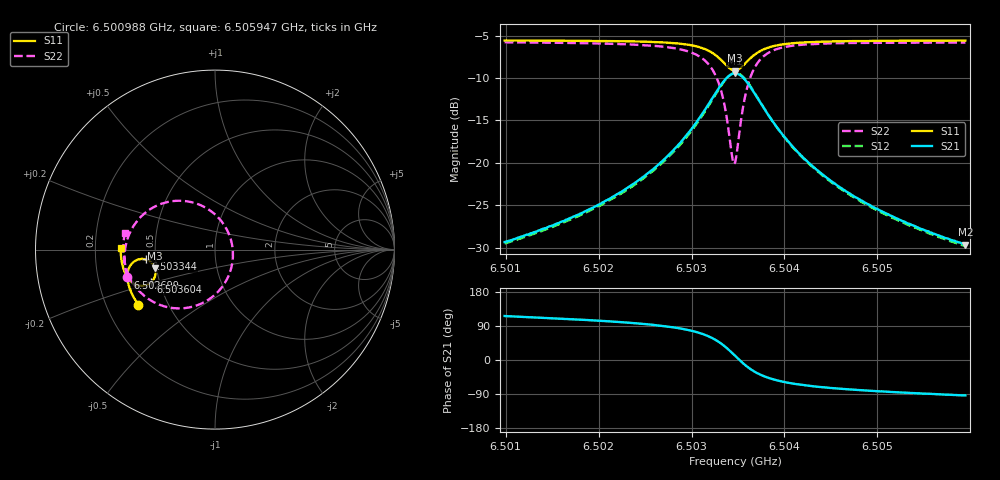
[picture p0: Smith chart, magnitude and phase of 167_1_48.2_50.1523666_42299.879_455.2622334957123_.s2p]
#  HZ  S  RI  R  50.00
! Rohde & Schwarz Vector Network Analyzer
! Rohde-Schwarz,ZNB20-2Port,1311601062101988,3.16
! Created: UTC 3/20/2024, 11:43:33 AM
! freq[Hz]  re:S11  im:S11  re:S21  im:S21  re:S12  im:S12  re:S22  im:S22
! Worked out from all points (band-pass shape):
!   401 points, 6.500988 GHz to 6.505947 GHz, reference 50 ohm
!   highest |S21| = -9.46 dB at 6.503468 GHz (marker M1); lowest = -29.7 dB at 6.505947 GHz (marker M2)
!   |S21| within 3 dB of the highest: 6.503219 GHz to 6.503715 GHz (496.3 kHz wide, 0.00763 % of centre)
!   lowest |S11| = -9.1 dB at 6.503468 GHz (marker M3), VSWR 2.08, Z = 24.5 - j5.87 ohm
!   |S11| at or under -10 dB: nowhere
!   |S22| runs from -20.1 to -5.8 dB; largest |S21 - S12| = 0.012
!   S11 on the Smith chart (normalised r, x): 6.500988 GHz: 0.34, -0.29; 6.502699 GHz: 0.33, -0.14; 6.503344 GHz: 0.44, -0.06; 6.503604 GHz: 0.45, -0.19; 6.505947 GHz: 0.31, +0.01
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6.5009882e9  -0.428 -0.3067  -0.015 0.0306  -0.0132 0.0306  -0.4913 -0.1501
6.5018188e9  -0.4634 -0.2449  -0.0142 0.0486  -0.0117 0.0482  -0.5039 -0.0609
6.5022652e9  -0.4789 -0.2051  -0.0112 0.0676  -0.00832 0.0665  -0.5004 0.00304
6.5026495e9  -0.488 -0.1624  -0.00177 0.0981  0.00195 0.0958  -0.4798 0.0808
6.5026991e9  -0.4884 -0.1558  0.000653 0.1039  0.00438 0.1013  -0.4743 0.0935
6.5029347e9  -0.4852 -0.1189  0.0233 0.1406  0.027 0.1363  -0.427 0.1678
6.5030958e9  -0.4707 -0.0868  0.0624 0.1766  0.0654 0.1707  -0.3508 0.2311
6.5032446e9  -0.4332 -0.0572  0.1436 0.2052  0.1446 0.1988  -0.2024 0.2723
6.5033438e9  -0.387 -0.0542  0.2348 0.1886  0.2349 0.1836  -0.0447 0.2292
6.5034306e9  -0.3446 -0.0832  0.3125 0.1143  0.3148 0.1096  0.0793 0.0825
6.5034554e9  -0.3366 -0.0973  0.3258 0.0827  0.3288 0.0773  0.0959 0.0229
6.5034678e9  -0.3338 -0.1051  0.3299 0.0658  0.3334 0.0601  0.0995 -0.00856
6.5034926e9  -0.3309 -0.1212  0.3334 0.0313  0.337 0.0243  0.0969 -0.0717
6.5035298e9  -0.3332 -0.1449  0.326 -0.0184  0.3291 -0.0276  0.0695 -0.1598
6.5036041e9  -0.3554 -0.1814  0.2795 -0.0942  0.2791 -0.1056  -0.0403 -0.2815
6.5037033e9  -0.3959 -0.2007  0.202 -0.1372  0.1968 -0.1472  -0.1986 -0.3275
6.5038645e9  -0.4448 -0.1929  0.1146 -0.1365  0.1073 -0.1419  -0.3573 -0.2835
6.5040381e9  -0.4737 -0.1717  0.067 -0.116  0.0606 -0.1183  -0.4346 -0.2167
6.5042984e9  -0.496 -0.1403  0.0343 -0.0895  0.0294 -0.0901  -0.482 -0.1391
6.5046828e9  -0.512 -0.1  0.0146 -0.0652  0.0113 -0.0648  -0.5049 -0.0615
6.5051291e9  -0.5209 -0.0584  0.00502 -0.0489  0.00284 -0.0482  -0.5107 0.00229
6.5059474e9  -0.5259 0.011  -0.00194 -0.0328  -0.00343 -0.032  -0.5031 0.0897
